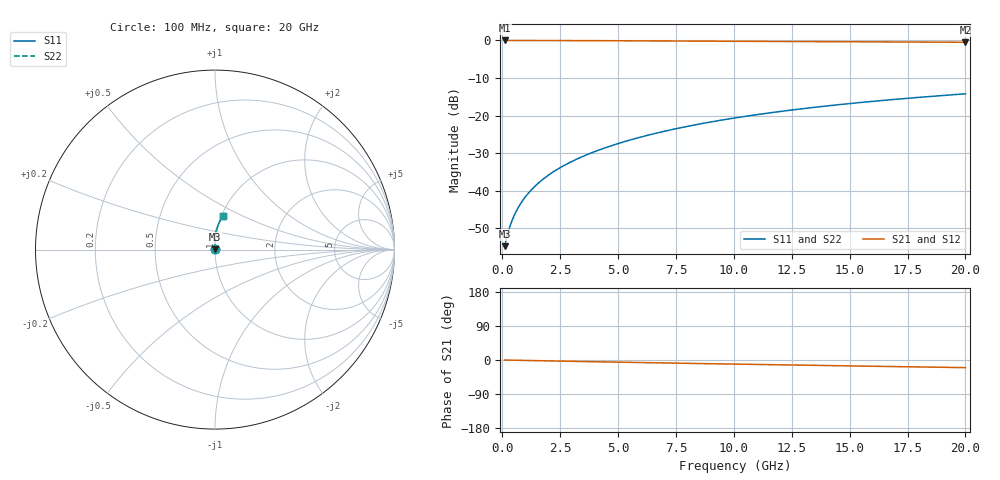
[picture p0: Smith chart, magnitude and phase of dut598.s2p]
! Touchstone file exported from HFSS 2024.1.0
!  File:  C:/UserFiles/LocalFiles/RDL_TSV_Batchsim/temp_RDL_bottom_598_1779691436.aedt
!  Generated:  02:46:21 PM May 25, 2026
!  Design:  RDL_bottom
!  Project:  temp_RDL_bottom_598_1779691436
!  Setup:  Setup1
!  Solution:  Sweep
! Variables:
!  dtsv = 10.80580581um
!  hbump = 3um
!  htsv = 54.87um
!  ldown = 279.72um
!  lrdl = 100um
!  p = 40
!  p1 = 44.81um
!  rhole = 1um
!  t = 450um
!  tdown = 3.11um
!  trdl = 3.915915916um
!  wdown = 23.96um
!  wrdl = 20um
# GHz S MA R 50.000000
! Terminal data exported
! Port[1] = RDL1_T1
! Port[2] = RDL1_T2
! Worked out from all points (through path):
!   200 points, 100 MHz to 20 GHz, reference 50 ohm
!   highest |S21| = -0.01 dB at 100 MHz (marker M1); lowest = -0.5 dB at 20 GHz (marker M2)
!   group delay of S21, straight-line fit = 2.76 ps
!   lowest |S11| = -54.7 dB at 100 MHz (marker M3), VSWR 1.00, Z = 50.2 + j0.0917 ohm
!   |S11| at or under -10 dB: start of sweep to end of sweep
!   |S22| runs from -54.7 to -14.2 dB; largest |S21 - S12| = 4.1e-15
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0.1  0.001836 29.9  0.9984 -0.1  0.9984 -0.1  0.001836 29.9
! Gamma 0 0 0 0
! Port Impedance 50 0 50 0
0.2  0.002444 47.1  0.9983 -0.2  0.9983 -0.2  0.002444 47.1
0.3  0.00315 56.5  0.9982 -0.4  0.9982 -0.4  0.00315 56.5
0.4  0.003874 62.2  0.9981 -0.5  0.9981 -0.5  0.003874 62.2
0.5  0.004603 66.3  0.998 -0.6  0.998 -0.6  0.004603 66.3
0.6  0.005336 69.4  0.9979 -0.7  0.9979 -0.7  0.005336 69.4
0.8  0.00682 73.8  0.9977 -1.0  0.9977 -1.0  0.00682 73.8
1  0.008331 76.9  0.9975 -1.2  0.9975 -1.2  0.008331 76.9
1.2  0.009868 79.2  0.9973 -1.4  0.9973 -1.4  0.009868 79.2
1.4  0.01143 81.0  0.9971 -1.7  0.9971 -1.7  0.01143 81.0
1.7  0.0138 83.0  0.9967 -2.0  0.9967 -2.0  0.0138 83.0
2.2  0.01784 85.2  0.996 -2.6  0.996 -2.6  0.01784 85.2
2.8  0.02284 87.0  0.9949 -3.3  0.9949 -3.3  0.02284 87.0
3.5  0.02887 88.3  0.9933 -4.1  0.9933 -4.1  0.02887 88.3
4.2  0.03511 89.1  0.9916 -4.8  0.9916 -4.8  0.03511 89.1
5  0.0425 89.6  0.9894 -5.7  0.9894 -5.7  0.0425 89.6
6.8  0.05994 89.5  0.984 -7.6  0.984 -7.6  0.05994 89.5
8.4  0.07613 88.6  0.979 -9.2  0.979 -9.2  0.07613 88.6
10.1  0.09371 87.2  0.9737 -10.9  0.9737 -10.9  0.09371 87.2
13.4  0.1281 83.8  0.9639 -14.1  0.9639 -14.1  0.1281 83.8
16.7  0.1619 80.1  0.9544 -17.1  0.9544 -17.1  0.1619 80.1
20  0.1947 76.5  0.9449 -20.1  0.9449 -20.1  0.1947 76.5
